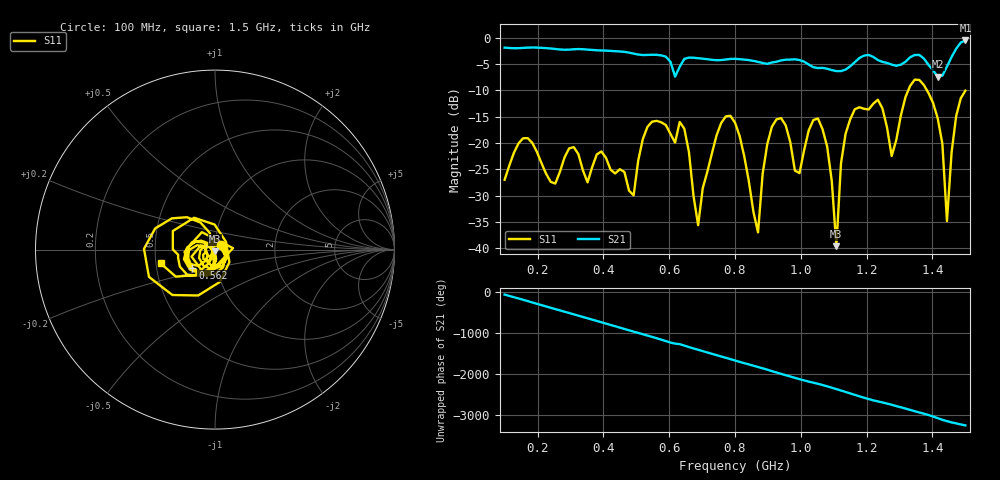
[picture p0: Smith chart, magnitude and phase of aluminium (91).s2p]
! NanoVNA-App
! Date: 2025-09-25 14:55:59
! Start: 100MHz Stop: 1,5GHz Points: 101
! S-Parameter data: F S11 S21 S12 S22
# Hz S RI R 50
!  Frequency  S11_Real  S11_Imag  S21_Real  S21_Imag  S12_Real  S12_Imag  S22_Real  S22_Imag
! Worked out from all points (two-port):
!   101 points, 100 MHz to 1.5 GHz, reference 50 ohm
!   highest |S21| = -0.56 dB at 1.5 GHz (marker M1); lowest = -7.4 dB at 1.416 GHz (marker M2)
!   |S21| within 3 dB of the highest: start of sweep to 585.4 MHz; 1.459 GHz to end of sweep (the widest 2 of 4)
!   lowest |S11| = -39.6 dB at 1.108 GHz (marker M3), VSWR 1.02, Z = 49.8 - j1.03 ohm
!   |S11| at or under -10 dB: start of sweep to 1.327 GHz; 1.383 GHz to end of sweep
!   S12 and S22 are empty: the file has one direction only
!   S11 on the Smith chart (normalised r, x): 100 MHz: 1.07, +0.06; 562 MHz: 0.76, -0.16; 1.5 GHz: 0.53, -0.09
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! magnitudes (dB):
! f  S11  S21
! 100 MHz  -27.0  -1.9
! 338 MHz  -25.2  -2.2
! 492 MHz  -30.0  -3.1
! 562 MHz  -15.8  -3.3
! 576 MHz  -16.1  -3.4
! 646 MHz  -17.3  -4.1
! 688 MHz  -35.6  -3.9
! 800 MHz  -16.2  -4.0
! 870 MHz  -37.0  -4.6
! 912 MHz  -16.9  -4.7
! 996 MHz  -25.7  -4.3
! 1.038 GHz  -15.7  -5.6
! 1.08 GHz  -20.7  -5.9
! 1.108 GHz  -39.6  -6.4
! 1.122 GHz  -23.9  -6.4
! 1.164 GHz  -13.6  -4.7
! 1.276 GHz  -22.5  -5.1
! 1.346 GHz  -8.0  -3.3
! 1.416 GHz  -15.4  -7.4
! 1.444 GHz  -34.8  -5.5
! 1.472 GHz  -14.9  -2.1
! 1.5 GHz  -10.1  -0.6
